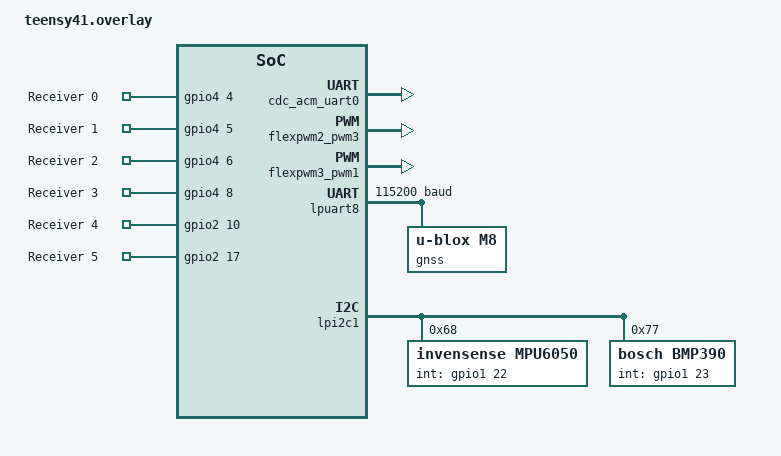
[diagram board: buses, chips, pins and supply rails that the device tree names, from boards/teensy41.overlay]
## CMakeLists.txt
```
# SPDX-License-Identifier: Apache-2.0

cmake_minimum_required(VERSION 3.20.0)

find_package(Zephyr REQUIRED HINTS $ENV{ZEPHYR_BASE})
project(RubbishBahFlighController)

include(${ZEPHYR_BASE}/samples/subsys/usb/common/common.cmake)

target_include_directories(app 
	PRIVATE 
		src
		ext/flysky_fs16x/src
		ext/ZephyrSDCard/src
		ext/ZephyrMPU6050/src
)

if(CONFIG_TEENSY41)
	target_sources(app 
		PRIVATE 
		ext/ZephyrMPU6050/src/console.cpp
	)
endif()

target_sources(app 
	PRIVATE 
		src/blinky.c
		ext/flysky_fs16x/src/flysky_fs16x.cpp
		ext/ZephyrMPU6050/src/mpu6050.cpp
    src/RBPID.cpp
		src/rbfc.cpp
		src/main.cpp
)
```

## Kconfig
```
# Copyright (c) 2023 Nordic Semiconductor ASA
# SPDX-License-Identifier: Apache-2.0

# Source common USB sample options used to initialize new experimental USB
# device stack. The scope of these options is limited to USB samples in project
# tree, you cannot use them in your own application.
#source "samples/subsys/usb/common/Kconfig.sample_usbd"

config TEENSY41
	bool "If you're using a Teensy 4.1"
	default n

config USING_ZEPHYR
	bool "If you're using Zephyr instead of Arduino"
	default n

source "Kconfig.zephyr"
```

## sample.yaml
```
sample:
  name: I2C custom target sample
tests:
  sample.drivers.i2c.custom_target:
    tags: i2c_target
    platform_allow:
      - lpcxpresso55s69/lpc55s69/cpu0
    harness: TBD
  sample.basic.servo_motor:
    tags:
      - drivers
      - pwm
    depends_on: pwm
    harness: motor
    filter: dt_compat_enabled("pwm-servo")
    integration_platforms:
      - bbc_microbit


    sample.drivers.adc.adc_dt:
    tags:
      - adc
    depends_on: adc
    platform_allow:
      - esp32_devkitc_wroom/esp32/procpu
      - esp32_devkitc_wrover/esp32/procpu
      - esp32s2_saola
      - esp32c3_devkitm
    integration_platforms:
      - nucleo_l073rz
      - nrf52840dk/nrf52840
    harness: console
    timeout: 10
    harness_config:
      type: multi_line
      regex:
        - "ADC reading\\[\\d+\\]:"
        - "- .+, channel \\d+: -?\\d+"
```

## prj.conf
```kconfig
CONFIG_ADC=y

CONFIG_USING_ZEPHYR=y

#CONFIG_ZTEST=y
#CONFIG_TEST_USERSPACE=y
CONFIG_CPP=y

CONFIG_TIMING_FUNCTIONS=y
CONFIG_CBPRINTF_FP_SUPPORT=y
#CONFIG_ASSERT=y
CONFIG_PWM=y
CONFIG_GPIO=y

CONFIG_I2C=y
CONFIG_I2C_TARGET=y
#CONFIG_NEWLIB_LIBC=y
CONFIG_SENSOR=y
CONFIG_BMP388=y

CONFIG_LOG=y
CONFIG_PRINTK=y
CONFIG_MAIN_STACK_SIZE=2048
```

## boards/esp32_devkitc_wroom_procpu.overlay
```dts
/ {
	aliases {
		led0 = &led0;
		receiver0 = &receiver0;
		receiver1 = &receiver1;
		receiver2 = &receiver2;
		receiver3 = &receiver3;
		receiver4 = &receiver4;
		receiver5 = &receiver5;
	};

  zephyr,user {
		io-channels = <&adc1 4>;
	};

  leds {
		compatible = "gpio-leds";
		led0: led_0 {
			gpios = <&gpio0 2 GPIO_ACTIVE_HIGH>;
			label = "LED 0";
		};
	};

	receiver {
		compatible = "gpio-keys";

		receiver0: receiver_0 {                 // roll
			gpios = <&gpio1 4 GPIO_ACTIVE_HIGH>;  // pin 36
      zephyr,code = <INPUT_KEY_0>;
			label = "Receiver 0";
		};

		receiver1: receiver_1 { // pitch
			gpios = <&gpio1 7 GPIO_ACTIVE_HIGH>;  // pin 39
      zephyr,code = <INPUT_KEY_1>;
			label = "Receiver 1";
		};

		receiver2: receiver_2 { // throttle
			gpios = <&gpio1 2  GPIO_ACTIVE_HIGH>; // pin 34
      zephyr,code = <INPUT_KEY_2>;
			label = "Receiver 2";
		};

		receiver3: receiver_3 { // pitch
			gpios = <&gpio1 3 GPIO_ACTIVE_HIGH>; // pin 35
      zephyr,code = <INPUT_KEY_3>;
			label = "Receiver 3";
		};

		receiver4: receiver_4 { //vra
			gpios = <&gpio1 0 GPIO_ACTIVE_HIGH>; // pin 32
      zephyr,code = <INPUT_KEY_4>;
			label = "Receiver 4";
		};

		receiver5: receiver_5 { //vrb
			gpios = <&gpio1 1 GPIO_ACTIVE_HIGH>; // pin 33
      zephyr,code = <INPUT_KEY_5>;
			label = "Receiver 5";
		};
	};

	servos {
		servo0: servo_0 {
			compatible = "pwm-servo";
			pwms = <&mcpwm0 0 PWM_MSEC(20) PWM_POLARITY_NORMAL>; 
			min-pulse = <PWM_USEC(1000)>;
			max-pulse = <PWM_USEC(2000)>;
		};
		servo1: servo_1 {
			compatible = "pwm-servo";
			pwms = <&mcpwm0 0 PWM_MSEC(20) PWM_POLARITY_NORMAL>; 
			min-pulse = <PWM_USEC(1000)>;
			max-pulse = <PWM_USEC(2000)>;
		};
		servo2: servo_2 {
			compatible = "pwm-servo";
			pwms = <&mcpwm0 0 PWM_MSEC(20) PWM_POLARITY_NORMAL>; 
			min-pulse = <PWM_USEC(1000)>;
			max-pulse = <PWM_USEC(2000)>;
		};
		servo3: servo_3 {
			compatible = "pwm-servo";
			pwms = <&mcpwm0 0 PWM_MSEC(20) PWM_POLARITY_NORMAL>; 
			min-pulse = <PWM_USEC(1000)>;
			max-pulse = <PWM_USEC(2000)>;
		};
	};
};

&adc1 {
	status = "okay";
	#address-cells = <1>;
	#size-cells = <0>;

	channel@4 {
		reg = <4>;
		zephyr,gain = "ADC_GAIN_1_4";
		zephyr,reference = "ADC_REF_INTERNAL";
		zephyr,acquisition-time = <ADC_ACQ_TIME_DEFAULT>;
		//zephyr,acquisition-time = <ADC_ACQ_TIME(ADC_ACQ_TIME_MICROSECONDS, 4000)>;
		zephyr,resolution = <12>;
	};
};

&pinctrl {
	mcpwm0_default: mcpwm0_default {
		group1 {
			pinmux = <MCPWM0_OUT0A_GPIO14>, // FR pin
							 <MCPWM0_OUT0A_GPIO27>, // BR pin
							 <MCPWM0_OUT0A_GPIO26>, // BL pin
							 <MCPWM0_OUT0A_GPIO25>; // FL pin
		};
	};
};

&mcpwm0 {
	pinctrl-0 = <&mcpwm0_default>;
	pinctrl-names = "default";
	prescale = <255>;
	prescale-timer0 = <103>;
	status = "okay";
};

&i2c0 {
	mpu6050@68 {
		compatible = "invensense,mpu6050";
		reg = <0x68>;
		status = "okay";
		int-gpios = <&gpio0 23 GPIO_ACTIVE_HIGH>;
	};

	bmp390@77 {
		compatible = "bosch,bmp390";
		reg = <0x77>;
		status = "okay";
		int-gpios = <&gpio0 19 GPIO_ACTIVE_HIGH>;
		odr = "200";
		osr-press = <1>;
		osr-temp = <1>;
		iir-filter = <3>;

		label = "BMP390";
	};
};
```

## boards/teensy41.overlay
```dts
/ {
	aliases {
		//led0 = &led0;
		receiver0 = &receiver0;
		receiver1 = &receiver1;
		receiver2 = &receiver2;
		receiver3 = &receiver3;
		receiver4 = &receiver4;
		receiver5 = &receiver5;
		gnss = &gnss;
	};

	chosen {
		zephyr,console = &cdc_acm_uart0;
	};

	receiver {
		compatible = "gpio-keys";
		
		receiver0: receiver_0 {
			gpios = <&gpio4 4 GPIO_ACTIVE_HIGH>; // pin 2
			label = "Receiver 0";
		};

		receiver1: receiver_1 {
			gpios = <&gpio4 5 GPIO_ACTIVE_HIGH>; // pin 3
			label = "Receiver 1";
		};

		receiver2: receiver_2 {
			gpios = <&gpio4 6 GPIO_ACTIVE_HIGH>; // pin 4
			label = "Receiver 2";
		};

		receiver3: receiver_3 {
			gpios = <&gpio4 8 GPIO_ACTIVE_HIGH>; // pin 5
			label = "Receiver 3";
		};

		receiver4: receiver_4 {
			gpios = <&gpio2 10 GPIO_ACTIVE_HIGH>; // pin 6
			label = "Receiver 4";
		};

		receiver5: receiver_5 {
			gpios = <&gpio2 17 GPIO_ACTIVE_HIGH>; // pin 7
			label = "Receiver 5";
		};
	};

	servos {
		servo0: servo_0 {
			compatible = "pwm-servo";
			pwms = <&flexpwm2_pwm3 0 PWM_MSEC(20) PWM_POLARITY_NORMAL>;
			min-pulse = <PWM_USEC(700)>;
			max-pulse = <PWM_USEC(9000)>;
		};

		servo1: servo_1 {
			compatible = "pwm-servo";
			pwms = <&flexpwm2_pwm3 1 PWM_MSEC(20) PWM_POLARITY_NORMAL>;
			min-pulse = <PWM_USEC(700)>;
			max-pulse = <PWM_USEC(9000)>;
		};

		servo2: servo_2 {
			compatible = "pwm-servo";
			pwms = <&flexpwm3_pwm1 1 PWM_MSEC(20) PWM_POLARITY_NORMAL>; 
			min-pulse = <PWM_USEC(700)>;
			max-pulse = <PWM_USEC(9000)>;
		};

		servo3: servo_3 {
			compatible = "pwm-servo";
			pwms = <&flexpwm3_pwm1 0 PWM_MSEC(20) PWM_POLARITY_NORMAL>;
			min-pulse = <PWM_USEC(700)>;
			max-pulse = <PWM_USEC(9000)>;
		};
	};
};

&zephyr_udc0 {
	cdc_acm_uart0: cdc_acm_uart0 {
		compatible = "zephyr,cdc-acm-uart";
	};
};

&pinctrl {
	pinmux_flexpwm3_ch1: pinmux_flexpwm3_ch1 {
		group0 {
			pinmux = <&iomuxc_gpio_emc_32_flexpwm3_pwmb1>, 
							 <&iomuxc_gpio_emc_31_flexpwm3_pwma1>;
			drive-strength = "r0-7";
			slew-rate = "fast";
			nxp,speed = "200-mhz";
		};
	};
	pinmux_flexpwm2_ch3: pinmux_flexpwm2_ch3 {
		group0 {
			pinmux = <&iomuxc_gpio_b1_02_flexpwm2_pwma3>,
							 <&iomuxc_gpio_b1_03_flexpwm2_pwmb3>;
			drive-strength = "r0-7";
			slew-rate = "fast";
			nxp,speed = "200-mhz";
		};
	};
};

&flexpwm2_pwm3 {
	status = "okay";
	pinctrl-0 = <&pinmux_flexpwm2_ch3>;
	pinctrl-names = "default";
	nxp,prescaler = <64>;
};

&flexpwm3_pwm1 {
	status = "okay";
	pinctrl-0 = <&pinmux_flexpwm3_ch1>;
	pinctrl-names = "default";
	nxp,prescaler = <64>;
};

&lpuart8 {
	status = "okay";
	current-speed = <115200>;

	gnss: u-blox,m8 {
		status = "okay";
		compatible = "u-blox,m8";
		uart-baudrate = <115200>;
	};
};

&lpi2c1 {
	status = "okay";
	mpu6050@68 {
		compatible = "invensense,mpu6050";
		reg = <0x68>;
		status = "okay";
		int-gpios = <&gpio1 22 GPIO_ACTIVE_HIGH>;
	};
	
	bmp390@77 {
		compatible = "bosch,bmp390";
		reg = <0x77>;
		status = "okay";
		int-gpios = <&gpio1 23 GPIO_ACTIVE_HIGH>;
		odr = "200";
		osr-press = <1>;
		osr-temp = <1>;
		iir-filter = <3>;

		label = "BMP390";
	};
};
```

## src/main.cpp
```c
/*
 *  It is not so very important for a person to learn facts. 
 *  For that he does not really need a college. He can learn 
 *  them from books. The value of an education ... is not the 
 *  learning of many facts, but the training of the mind to think 
 *  something that cannot be learned from textbooks.”
 *
 *                                -Einstein
 */

#include "blinky.h"
#include "rbfc.h"

#ifdef CONFIG_TEENSY41
#include "console.h"
#endif

int app_init(void)
{

#ifdef CONFIG_TEENSY41
	startConsole();
#endif

	startBlinkyThread();
	
	return 0;
}

int main(void)
{
	app_init();

	RbosDrone rbosDrone = RbosDrone();

//*
	while(1)
	{
		//printf(".");		
		k_msleep(1000);
	}
//*/

	return 0;
}
```

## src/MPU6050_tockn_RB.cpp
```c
#include "MPU6050_tockn_RB.h"
#include "Arduino.h"

MPU6050::MPU6050(TwoWire &w){
  wire = &w;
  accCoef = 0.02f;
  gyroCoef = 0.98f;
}

MPU6050::MPU6050(TwoWire &w, float aC, float gC){
  wire = &w;
  accCoef = aC;
  gyroCoef = gC;
}

void MPU6050::begin(){
  writeMPU6050(MPU6050_SMPLRT_DIV, 0x00);
  writeMPU6050(MPU6050_CONFIG, 0x00);
  writeMPU6050(MPU6050_GYRO_CONFIG, 0x08);
  writeMPU6050(MPU6050_ACCEL_CONFIG, 0x16);
  writeMPU6050(MPU6050_PWR_MGMT_1, 0x01);
  this->update();
  angleGyroX = 0;
  angleGyroY = 0;
  angleX = this->getAccAngleX();
  angleY = this->getAccAngleY();
  preInterval = millis();
}

void MPU6050::writeMPU6050(byte reg, byte data){
  wire->beginTransmission(MPU6050_ADDR);
  wire->write(reg);
  wire->write(data);
  wire->endTransmission();
}

byte MPU6050::readMPU6050(byte reg) {
  wire->beginTransmission(MPU6050_ADDR);
  wire->write(reg);
  wire->endTransmission(true);
  wire->requestFrom(MPU6050_ADDR, 1);
  byte data =  wire->read();
  return data;
}

void MPU6050::setGyroOffsets(float x, float y, float z){
  gyroXoffset = x;
  gyroYoffset = y;
  gyroZoffset = z;
}

void MPU6050::calcGyroOffsets(bool console, uint16_t delayBefore, uint16_t delayAfter){
	float x = 0, y = 0, z = 0;
	int16_t rx, ry, rz;

  delay(delayBefore);
    /*
	if(console){
    Serial.println();
    Serial.println("========================================");
    Serial.println("Calculating gyro offsets");
    Serial.print("DO NOT MOVE MPU6050");
  }
    */
  for(int i = 0; i < 3000; i++){
    if(console && i % 1000 == 0){
      /*
      Serial.print(".");
      */
    }
    wire->beginTransmission(MPU6050_ADDR);
    wire->write(0x43);
    wire->endTransmission(false);
    wire->requestFrom((int)MPU6050_ADDR, 6);

    rx = wire->read() << 8 | wire->read();
    ry = wire->read() << 8 | wire->read();
    rz = wire->read() << 8 | wire->read();

    x += ((float)rx) / 65.5;
    y += ((float)ry) / 65.5;
    z += ((float)rz) / 65.5;
  }
  gyroXoffset = x / 3000;
  gyroYoffset = y / 3000;
  gyroZoffset = z / 3000;

    /*
  if(console){
    Serial.println();
    Serial.println("Done!");
    Serial.print("X : ");Serial.println(gyroXoffset);
    Serial.print("Y : ");Serial.println(gyroYoffset);
    Serial.print("Z : ");Serial.println(gyroZoffset);
    Serial.println("Program will start after 3 seconds");
    Serial.print("========================================");
		delay(delayAfter);
	}
    */
}

void MPU6050::update(){
	wire->beginTransmission(MPU6050_ADDR);
	wire->write(0x3B);
	wire->endTransmission(false);
	wire->requestFrom((int)MPU6050_ADDR, 14);

  rawAccX = wire->read() << 8 | wire->read();
  rawAccY = wire->read() << 8 | wire->read();
  rawAccZ = wire->read() << 8 | wire->read();
  rawTemp = wire->read() << 8 | wire->read();
  rawGyroX = wire->read() << 8 | wire->read();
  rawGyroY = wire->read() << 8 | wire->read();
  rawGyroZ = wire->read() << 8 | wire->read();

  temp = (rawTemp + 12412.0) / 340.0;

  /*
  ///2g = 16384
  accX = ((float)rawAccX) / 16384.0;
  accY = ((float)rawAccY) / 16384.0;
  accZ = ((float)rawAccZ) / 16384.0;

  */
  ///8g = 4096
  accX = ((float)rawAccX) / 4096.0;
  accY = ((float)rawAccY) / 4096.0;
  accZ = ((float)rawAccZ) / 4096.0;

  angleAccX = atan2(accY, sqrt(accZ * accZ + accX * accX)) * 360 / 2.0 / PI;
  angleAccY = atan2(accX, sqrt(accZ * accZ + accY * accY)) * 360 / -2.0 / PI;

  gyroX = ((float)rawGyroX) / 65.5;
  gyroY = ((float)rawGyroY) / 65.5;
  gyroZ = ((float)rawGyroZ) / 65.5;

  gyroX -= gyroXoffset;
  gyroY -= gyroYoffset;
  gyroZ -= gyroZoffset;

  interval = (millis() - preInterval) * 0.001;

  angleGyroX += gyroX * interval;
  angleGyroY += gyroY * interval;
  angleGyroZ += gyroZ * interval;

  angleX = (gyroCoef * (angleX + gyroX * interval)) + (accCoef * angleAccX);
  angleY = (gyroCoef * (angleY + gyroY * interval)) + (accCoef * angleAccY);
  angleZ = angleGyroZ;

  preInterval = millis();

}
```

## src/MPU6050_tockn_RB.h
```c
#ifndef MPU6050_TOCKN_RB_H
#define MPU6050_TOCKN_RB_H

#include "Arduino.h"
#include "Wire.h"

#define MPU6050_ADDR         0x68
#define MPU6050_SMPLRT_DIV   0x19
#define MPU6050_CONFIG       0x1a
#define MPU6050_GYRO_CONFIG  0x1b
#define MPU6050_ACCEL_CONFIG 0x1c
#define MPU6050_WHO_AM_I     0x75
#define MPU6050_PWR_MGMT_1   0x6b
#define MPU6050_TEMP_H       0x41
#define MPU6050_TEMP_L       0x42

class MPU6050{
  public:

  MPU6050(TwoWire &w);
  MPU6050(TwoWire &w, float aC, float gC);

  void begin();

  void setGyroOffsets(float x, float y, float z);
  float getYawOffset(){ return gyroZoffset;}

  void writeMPU6050(byte reg, byte data);
  byte readMPU6050(byte reg);

  int16_t getRawAccX(){ return rawAccX; };
  int16_t getRawAccY(){ return rawAccY; };
  int16_t getRawAccZ(){ return rawAccZ; };

  int16_t getRawTemp(){ return rawTemp; };

  int16_t getRawGyroX(){ return rawGyroX; };
  int16_t getRawGyroY(){ return rawGyroY; };
  int16_t getRawGyroZ(){ return rawGyroZ; };

  float getTemp(){ return temp; };

  float getAccX(){ return accX; };
  float getAccY(){ return accY; };
  float getAccZ(){ return accZ; };

  float getGyroX(){ return gyroX; };
  float getGyroY(){ return gyroY; };
  float getGyroZ(){ return gyroZ; };

	void calcGyroOffsets(bool console = false, uint16_t delayBefore = 1000, uint16_t delayAfter = 3000);

  float getGyroXoffset(){ return gyroXoffset; };
  float getGyroYoffset(){ return gyroYoffset; };
  float getGyroZoffset(){ return gyroZoffset; };

  void update();

  float getAccAngleX(){ return angleAccX; };
  float getAccAngleY(){ return angleAccY; };

  float getGyroAngleX(){ return angleGyroX; };
  float getGyroAngleY(){ return angleGyroY; };
  float getGyroAngleZ(){ return angleGyroZ; };

  float getAngleX(){ return angleX; };
  float getAngleY(){ return angleY; };
  float getAngleZ(){ return angleZ; };

  private:

  TwoWire *wire;

  int16_t rawAccX, rawAccY, rawAccZ, rawTemp,
  rawGyroX, rawGyroY, rawGyroZ;

  float gyroXoffset, gyroYoffset, gyroZoffset;

  float temp, accX, accY, accZ, gyroX, gyroY, gyroZ;

  float angleGyroX, angleGyroY, angleGyroZ,
  angleAccX, angleAccY, angleAccZ;

  float angleX, angleY, angleZ;

  float interval;
  long preInterval;

  float accCoef, gyroCoef;
};

#endif
```

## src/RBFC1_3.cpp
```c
#include "RBPID.h"

///Data Objects
accel_t myAccel;
gyro_t myGyro;
PID_t myPID;
kalman_t myKalman;
voltMeter_t myMeter;

///MODE
byte motor_start = 0;

///IMU
MPU6050 mpu6050(Wire);
byte IMU_read = 0;

///Baro

///Input Variables
byte last_channel_1, last_channel_2, last_channel_3, last_channel_4;
unsigned long timer_1, timer_2, timer_3, timer_4, current_time;

///{0 = throttle, 1 = roll, 2 = pitch, 3 = yaw}
int receiver_input[4];
int corrected_input[4];

///Motor Timers & Motors
int ESCtimer[4];
Servo motorFR;
Servo motorBR;
Servo motorBL;
Servo motorFL;

///Main Loop Timers
unsigned long loop_timer, curr_time, prev_time, loop_start, loop_final;

///Function Prototypes
void setInput();
void IRAM_ATTR ISR_INPUT();

void setup()
{
  Serial.begin(1000000);
  while (!Serial) delay(10);
  Wire.begin();
  mpu6050.begin();

  ///Init IMU and Calibration
  mpu6050.calcGyroOffsets(true);
  myGyro.rateCalibration[0] -= mpu6050.getGyroYoffset();
  myGyro.rateCalibration[1] -= mpu6050.getGyroXoffset();
  myGyro.rateCalibration[2] -= mpu6050.getGyroZoffset();
  memset(myKalman.kalmanAngle, 0, 2);
  memset(myKalman.kalmanUncertaintyAngle, 4, 2);
  memset(myKalman.kalmanOutput, 0, 2);

  ///Init PID and Input
  setPID(myPID, 'S');
  setInput();

  ///Volt Meter
  pinMode(voltMeterPin, INPUT);

  ///Motor Pins and Servo Attach
  pinMode(motorFRPin, OUTPUT);
  pinMode(motorBRPin, OUTPUT);
  pinMode(motorBLPin, OUTPUT);
  pinMode(motorFLPin, OUTPUT);
  motorFR.attach(motorFRPin);
  motorBR.attach(motorBRPin);
  motorBL.attach(motorBLPin);
  motorFL.attach(motorFLPin);

  ///Make the beeping stop asap
  memset(receiver_input, 1000, 5);
  for (int i = 0; i < 4; ++i)
  {
    ESCtimer[i] = 1000;
  }
  loop_timer = 0;
}

void loop()
{
  prev_time = curr_time;
  curr_time = micros();
  
  ///Loop Start Operations
  if (loop_timer == 0)
  {
    loop_start = micros();

    ///Set motor pulse from last loop
    motorFR.writeMicroseconds(ESCtimer[0]);
    motorBR.writeMicroseconds(ESCtimer[1]);
    motorBL.writeMicroseconds(ESCtimer[2]);
    motorFL.writeMicroseconds(ESCtimer[3]);

    printReport(myMeter, myPID, myKalman, ESCtimer, myAccel, myGyro, corrected_input, loop_final);

    ///Capture IMU data and correct gyro
    getIMU(mpu6050, myGyro, myAccel);
    myGyro.rotationRate[0] -= myGyro.rateCalibration[0];
    myGyro.rotationRate[1] -= myGyro.rateCalibration[1];
    myGyro.rotationRate[2] -= myGyro.rateCalibration[2];

    ///Calculate XY Kalman Angles
    for (int i = 0; i < 2; ++i)
    {
      kalman_1d(myKalman, myKalman.kalmanAngle[i], myKalman.kalmanUncertaintyAngle[i], myGyro.rotationRate[i], myAccel.ang[i]);
      myKalman.kalmanAngle[i] = myKalman.kalmanOutput[0];
      myKalman.kalmanUncertaintyAngle[i] = myKalman.kalmanOutput[1];
    }
  }
  loop_timer += (curr_time - prev_time);

  ///Capture and Correct Receiver
  correctInput(receiver_input, corrected_input);

  ///PID angle setpoints
  myPID.desiredAngle[0] = corrected_input[1];
  myPID.desiredAngle[1] = corrected_input[2];
  myPID.desiredRate[2] = corrected_input[3];

  ///PID Calculations for next loop cycle
  calculate_pid(myPID, myKalman, myGyro, myAccel);

  ///Motor Start and Stop
  if (motor_start == 0 && receiver_input[0] < 1050 && 
      receiver_input[1] < 1050 && receiver_input[2] < 1050 && receiver_input[3] > 1950)
  {
    mpu6050.calcGyroOffsets(true);
    myGyro.rateCalibration[0] -= mpu6050.getGyroYoffset();
    myGyro.rateCalibration[1] -= mpu6050.getGyroXoffset();
    myGyro.rateCalibration[2] -= mpu6050.getGyroZoffset();

    motor_start = 1;
  }
  if (motor_start == 0 && receiver_input[0] < 1050 && 
      receiver_input[1] > 1950 && receiver_input[2] < 1050 && receiver_input[3] > 1950)
  {
    motor_start = 1;
  }
  if (motor_start == 1 && receiver_input[0] < 1050 && 
      receiver_input[1] > 1950 && receiver_input[2] < 1050 && receiver_input[3] < 1050)
  {
    motor_start = 0;
  }

  ///End of loop operations
  getVoltageCompensation(myMeter);

  ///Assume the motors are off
  ESCtimer[0] = 1000;
  ESCtimer[1] = 1000;
  ESCtimer[2] = 1000;
  ESCtimer[3] = 1000;

  ///In the event that the motors are on
  if (motor_start == 1)
  {
    if (receiver_input[0] < 1050)
    {
      receiver_input[0] = 1000;
      setPID(myPID, 'R');
    }
    else
    {
      if (receiver_input[0] > MAX_THROTTLE)
      {
        receiver_input[0] = MAX_THROTTLE;
      }

    /*(front-right - CCW)
      (back-right  - CW)
      (back-left   - CCW)
      (front-left  - CW)
      Motor blending equations   */
      ESCtimer[0] = receiver_input[0] + myPID.final[0] + myPID.final[1] - myPID.final[2];
      ESCtimer[1] = receiver_input[0] + myPID.final[0] - myPID.final[1] + myPID.final[2];
      ESCtimer[2] = receiver_input[0] - myPID.final[0] - myPID.final[1] - myPID.final[2];
      ESCtimer[3] = receiver_input[0] - myPID.final[0] + myPID.final[1] + myPID.final[2];

      ///Keep the motors spinning
      if (ESCtimer[0] < 1100){ESCtimer[0] = 1100;}
      if (ESCtimer[1] < 1100){ESCtimer[1] = 1100;}
      if (ESCtimer[2] < 1100){ESCtimer[2] = 1100;}
      if (ESCtimer[3] < 1100){ESCtimer[3] = 1100;}
      
      ///Limit output to 2000us
      if (ESCtimer[0] > 2000){ESCtimer[0] = 2000;}
      if (ESCtimer[1] > 2000){ESCtimer[1] = 2000;}
      if (ESCtimer[2] > 2000){ESCtimer[2] = 2000;}
      if (ESCtimer[3] > 2000){ESCtimer[3] = 2000;}
    }
  }
  
  ///wait for 4ms to start the next loop
  while((micros() - loop_start) < 4000);
  
  loop_final = micros() - loop_start;
  loop_timer = 0;
}

void setInput()
{
  pinMode(chan1Pin, INPUT);
  pinMode(chan2Pin, INPUT);
  pinMode(chan3Pin, INPUT);
  pinMode(chan4Pin, INPUT);
  attachInterrupt(chan1Pin, ISR_INPUT, CHANGE);
  attachInterrupt(chan2Pin, ISR_INPUT, CHANGE);
  attachInterrupt(chan3Pin, ISR_INPUT, CHANGE);
  attachInterrupt(chan4Pin, ISR_INPUT, CHANGE);
}

void IRAM_ATTR ISR_INPUT()
{
  current_time = micros();
  //Channel 1=========================================ROLL
  if(digitalRead(chan1Pin) == HIGH)
  {                                                                         
    if(last_channel_1 == 0)                                                 //Is input 8 high?
    {                                                                       //Input 8 changed from 0 to 1.
      last_channel_1 = 1;                                                   //Remember current input state.
      timer_1 = current_time;                                               //Set timer_1 to current_time.
    }
  }
  else if(last_channel_1 == 1)
  {                                                                         //Input 8 is not high and changed from 1 to 0.
    last_channel_1 = 0;                                                     //Remember current input state.
    receiver_input[1] = current_time - timer_1;                             //Channel 1 is current_time - timer_1.
  }
  //Channel 2=========================================PITCH
  if(digitalRead(chan2Pin) == HIGH)
  {                                                                         //Is input 9 high?
    if(last_channel_2 == 0)
    {                                                                       //Input 9 changed from 0 to 1.
      last_channel_2 = 1;                                                   //Remember current input state.
      timer_2 = current_time;                                               //Set timer_2 to current_time.
    }
  }
  else if(last_channel_2 == 1)
  {                                                                         //Input 9 is not high and changed from 1 to 0.
    last_channel_2 = 0;                                                     //Remember current input state.
    receiver_input[2] = current_time - timer_2;                             //Channel 2 is current_time - timer_2.
  }
  //Channel 3=========================================YAW
  if(digitalRead(chan3Pin) == HIGH)
  {                                                                         //Is input 10 high?
    if(last_channel_3 == 0)
    {                                                                       //Input 10 changed from 0 to 1.
      last_channel_3 = 1;                                                   //Remember current input state.
      timer_3 = current_time;                                               //Set timer_3 to current_time.
    }
  }
  else if(last_channel_3 == 1)
  {                                                                         //Input 10 is not high and changed from 1 to 0.
    last_channel_3 = 0;                                                     //Remember current input state.
    receiver_input[0] = current_time - timer_3;                             //Channel 3 is current_time - timer_3.

  }
  //Channel 4=========================================THROTTLE
  if(digitalRead(chan4Pin) == HIGH)
  {                                                                         //Is input 11 high?
    if(last_channel_4 == 0)
    {                                                                        //Input 11 changed from 0 to 1.
      last_channel_4 = 1;                                                   //Remember current input state.
      timer_4 = current_time;                                               //Set timer_4 to current_time.
    }
  }
  else if(last_channel_4 == 1)
  {                                                                         //Input 11 is not high and changed from 1 to 0.
    last_channel_4 = 0;                                                     //Remember current input state.
    receiver_input[3] = current_time - timer_4;                             //Channel 4 is current_time - timer_4.
  }
}
```

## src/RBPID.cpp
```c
#include "RBPID.h"
#include <math.h>
//#include "MPU6050_tockn_RB.h"

#if !defined CONFIG_USING_ZEPHYR
#include <Arduino.h>
#include <ESP32Servo.h>
#else
#include <ctype.h>
#endif

void getVoltageCompensation(voltMeter_t &meter)
{
  //meter.batteryVoltage = double(analogReadMilliVolts(voltMeterPin)) / 1000.0 * 11.0;
  //meter.analogIn = analogRead(voltMeterPin);
  //meter.TEMP = map(meter.analogIn, 0, 4095, 0, 8);
  //meter.TEMP = map(meter.analogIn, 0, 3300, 0, 8);
  //meter.batteryVoltage = meter.TEMP * 21.0 / 10;
}

void setPID(PID_t &pid, const char opt)
{
  switch(toupper(opt))
  {
    case 'R':
      for (int i = 0; i < 3; ++i)
      {
        pid.prevErrorRate[i] = 0;
        pid.prevITermRate[i] = 0;
      }
      for (int i = 0; i < 2; ++i)
      {
        pid.prevErrorAngle[i] = 0;
        pid.prevITermAngle[i] = 0;
      }
      break;
    case 'S':
      pid.PRateGain[0] = 1.80;
      pid.PRateGain[1] = pid.PRateGain[0];
      pid.PRateGain[2] = 1.80;

      pid.IRateGain[0] = 0.005;
      pid.IRateGain[1] = pid.IRateGain[0];
      pid.IRateGain[2] = 0.005;

      pid.DRateGain[0] = 0.008;
      pid.DRateGain[1] = pid.DRateGain[0];
      pid.DRateGain[2] = 0.008;

      pid.PAngleGain[0] = 3.0;
      pid.PAngleGain[1] = pid.PAngleGain[0];

      pid.IAngleGain[0] = 2.0;
      pid.IAngleGain[1] = pid.IAngleGain[0];

      pid.DAngleGain[0] = 0.0;
      pid.DAngleGain[1] = pid.DAngleGain[0];
      break;
    default:
      break;
  }
}

/*
void getIMU(MPU6050 mpu6050, gyro_t &gyro, accel_t &accel)
{
  mpu6050.update();
  gyro.rotationRate[0] = double(mpu6050.getGyroX());
  gyro.rotationRate[1] = double(mpu6050.getGyroY());
  gyro.rotationRate[2] = double(mpu6050.getGyroZ());

  accel.acc[0] = double(mpu6050.getAccX());
  accel.acc[1] = double(mpu6050.getAccY());
  accel.acc[2] = double(mpu6050.getAccZ());

  accel.ang[0] = double(mpu6050.getAccAngleX());
  accel.ang[1] = double(mpu6050.getAccAngleY());
}
//*/

/*
void kalman_nd(
    nkalman_t nkalman[], 
    double KalmanState, 
    double KalmanUncertainty, 
    double KalmanInput, 
    double KalmanMeasurement
  )
{
  double KalmanGain;

  uint16_t n = sizeof(kalman) / sizeof(kalman_t);
  
  for(int i = 0; i < n; ++i)
  {
    KalmanState = KalmanState + 0.004 * KalmanInput;
    KalmanUncertainty = KalmanUncertainty + 0.004 * 0.004 * 4 * 4;
    KalmanGain = KalmanUncertainty / (KalmanUncertainty + 3 * 3);
    KalmanState = KalmanState+KalmanGain * (KalmanMeasurement - KalmanState);
    KalmanUncertainty = (1 - KalmanGain) * KalmanUncertainty;
    nkalman[i].output = KalmanState; 
    nkalman[i + 1].output = KalmanUncertainty;
  }
}
//*/

//*
void kalman_1d(
    kalman_t &kalman, 
    double KalmanState, 
    double KalmanUncertainty, 
    double KalmanInput, 
    double KalmanMeasurement)
{
  double KalmanGain;
  KalmanState = KalmanState + 0.004 * KalmanInput;
  KalmanUncertainty = KalmanUncertainty + 0.004 * 0.004 * 4 * 4;
  KalmanGain = KalmanUncertainty / (KalmanUncertainty + 3 * 3);
  KalmanState = KalmanState+KalmanGain * (KalmanMeasurement - KalmanState);
  KalmanUncertainty = (1 - KalmanGain) * KalmanUncertainty;
  kalman.kalmanOutput[0] = KalmanState; 
  kalman.kalmanOutput[1] = KalmanUncertainty;
}
//*/

void calculate_pid(PID_t &myPID, kalman_t myKalman, gyro_t myGyro, accel_t myAccel)
{
  for (int i = 0; i < 2; ++i)
  {
    myPID.errorAngle[i] = myPID.desiredAngle[i] - myKalman.kalmanAngle[i];
    pid_equation(myPID, myPID.errorAngle[i], myPID.PAngleGain[i], myPID.IAngleGain[i], myPID.DAngleGain[i], myPID.prevErrorAngle[i], myPID.prevITermAngle[i]);
    myPID.desiredRate[i] = myPID.PIDReturn[0];
    myPID.prevErrorAngle[i] = myPID.PIDReturn[1];
    myPID.prevITermAngle[i] = myPID.PIDReturn[2];
  }

  for (int i = 0; i < 3; ++i)
  {
    myPID.errorRate[i] = myPID.desiredRate[i] - myGyro.rotationRate[i];
    pid_equation(myPID, myPID.errorRate[i], myPID.PRateGain[i], myPID.IRateGain[i], myPID.DRateGain[i], myPID.prevErrorRate[i], myPID.prevITermRate[i]);
    myPID.finalValue[i] = myPID.PIDReturn[0];
    myPID.prevErrorRate[i] = myPID.PIDReturn[1];
    myPID.prevITermRate[i] = myPID.PIDReturn[2];
  }
}

void pid_equation(PID_t &pid, double Error, double P , double I, double D, double PrevError, double PrevIterm)
{
  double Dterm, PIDOutput, Pterm, Iterm;
  Pterm = P * Error;
  Iterm = PrevIterm + I * (Error + PrevError) * 0.004 / 2;
  if (Iterm > MAX_PID)
  {
    Iterm = MAX_PID;
  }
  else if (Iterm < -MAX_PID)
  {
    Iterm = -MAX_PID;
  }
  Dterm = D * (Error - PrevError);// / 0.004;
  PIDOutput = Pterm + Iterm + Dterm;
  if (PIDOutput > MAX_PID)
  {
    PIDOutput = MAX_PID;
  }
  else if (PIDOutput < -MAX_PID)
  {
    PIDOutput = -MAX_PID;
  }
  pid.PIDReturn[0] = PIDOutput;
  pid.PIDReturn[1] = Error;
  pid.PIDReturn[2] = Iterm;
}

void correctInput(int receiver_input[], int corrected_input[])
{
  for (int i = 1; i <= 3; ++i)
  {
    if (receiver_input[i] > 1492 && receiver_input[i] < 1508)
    {
      corrected_input[i] = 0;
    }
    else
    {
      //corrected_input[i] = (0.15) * (receiver_input[i] - 1500);
      corrected_input[i] = (45 / 50.0) * (receiver_input[i] - 1500) / 10.0;
    }
    switch (i)
    {
      case 1:
      case 2:
      case 3:
        corrected_input[i] = -corrected_input[i];
        break;
      default:
        break;
    }
  }
}

void printReport(voltMeter_t meter, PID_t pid, kalman_t kalman, int ESCtimer[], accel_t accel, gyro_t gyro, int corrected_input[], int loopTime)
{
  /*
  Serial.printf("%0.2fl, %0.2fl, %0.2fl, ", gyro.rotationRate[0], gyro.rotationRate[1], gyro.rotationRate[2]);
  Serial.printf("%0.2f, %0.2f, %0.2f, ", pid.desiredRate[0], pid.desiredRate[1], pid.desiredRate[2]);
  Serial.printf("%0.2f, %0.2f, ", accel.ang[0], accel.ang[1]);
  Serial.printf("%0.2f, %0.2f, %0.2f, ", pid.final[0], pid.final[1], pid.final[2]);
  Serial.printf("%0.2f, %0.2f, ", kalman.kalmanAngle[0], kalman.kalmanAngle[1]);
  Serial.printf("%0.2f, %0.2f, %0.2f, ", pid.desiredAngle[0], pid.desiredAngle[1], pid.desiredRate[2]);
  Serial.printf("%d, %d, %d, %d, ", ESCtimer[0]
                                  , ESCtimer[1]
                                  , ESCtimer[2]
                                  , ESCtimer[3]);
  Serial.printf("%d\n", loopTime);
  */
  //Serial.printf("%0.2f, ", meter.batteryVoltage);
  //Serial.printf("\n");
}
```

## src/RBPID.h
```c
#ifndef _RB_PID_H_
#define _RB_PID_H_

#if !CONFIG_USING_ZEPHYR
#pragma once
#include <Arduino.h>
#include <ESP32Servo.h>
#include "MPU6050_tockn_RB.h"

#define chan1Pin 35///Roll
#define chan2Pin 34///Pitch
#define chan3Pin 39///Throttle
#define chan4Pin 36///Yaw
#define motorFRPin 14
#define motorBRPin 27
#define motorBLPin 26
#define motorFLPin 25
#define voltMeterPin 13
#endif

#include <math.h>

#define MAX_THROTTLE 1800
#define MAX_ESC_OUT 2000
#define MIN_ESC_OUT 1100
#define MAX_PID 200
#define MAX_YAW 200
#define MOTOR_OFF 1000

///Data Structs
struct accel_t
{
  double acc[3];
  double ang[2];
};

struct gyro_t
{
  double rotationRate[3];
  double rateCalibration[3];
};

//*
struct kalman_t
{
  double kalmanAngle[2];
  double kalmanUncertaintyAngle[2];
  double kalmanOutput[2];
};
//*/

/*
struct nkalman_t
{
  double input;
  double uncertainty;
  double output;
};
//*/

struct PID_t
{
  double PIDReturn[3];
  double finalValue[3];
  double desiredRate[3];
  double desiredAngle[3];
  double errorRate[3];
  double prevErrorRate[3];
  double prevITermRate[3];
  double PRateGain[3];
  double IRateGain[3];
  double DRateGain[3];
  double errorAngle[3];
  double prevErrorAngle[3];
  double prevITermAngle[3];
  double PAngleGain[3];
  double IAngleGain[3];
  double DAngleGain[3];
};

struct voltMeter_t
{
  //uint32_t analogIn;
  double batteryVoltage;
  int ESCcompensation;
  //int TEMP;
};

void getVoltageCompensation(voltMeter_t &meter);
void setPID(PID_t &pid, const char opt);
void calculate_pid(PID_t &myPID, kalman_t myKalman, gyro_t myGyro, accel_t myAccel);
void getIMU(gyro_t &gyro, accel_t &accel);
//void getIMU(MPU6050 IMU, gyro_t &gyro, accel_t &accel);
void kalman_1d(kalman_t &kalman, double KalmanState, double KalmanUncertainty, double KalmanInput, double KalmanMeasurement);
void pid_equation(PID_t &pid, double Error, double P , double I, double D, double PrevError, double PrevIterm);
void correctInput(int receiver_input[], int corrected_input[]);
void printReport(voltMeter_t meter, PID_t pid, kalman_t kalman, int ESCtimer[], accel_t accel, gyro_t gyro, int corrected_input[], int loopTime);

#endif
```

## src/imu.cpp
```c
#include "imu.h"

/*
 * Copyright (c) 2019 Nordic Semiconductor ASA
 *
 * SPDX-License-Identifier: Apache-2.0
 */

timing_t start_time;
timing_t end_time;
uint64_t total_cycles = 0;
uint64_t total_ns = 0;
uint64_t max_ns = 0;

K_MUTEX_DEFINE(max_ns_mutex);
K_MUTEX_DEFINE(imu_data_mutex);

sensor_value_t Imu::temperature;
sensor_value_t Imu::accel[3] = {0};
sensor_value_t Imu::gyro[3] = {0};

Imu::Imu() :
	mpu6050(DEVICE_DT_GET_ONE(invensense_mpu6050))
{
	startTriggeredImu();
}

Imu::~Imu()
{

}

int Imu::getImuData(
				sensor_value_t *ptemperature, sensor_value_t *paccel, sensor_value_t *pgyro, int size) {
	
	__ASSERT(size==SENSOR_ARRAY_SIZE, "Invalid size, got %d\n", size);

	k_mutex_lock(&imu_data_mutex, K_FOREVER);
	memcpy(ptemperature, &temperature, sizeof(sensor_value_t));	
	memcpy(paccel, accel, size * sizeof(sensor_value_t));	
	memcpy(pgyro, gyro, size * sizeof(sensor_value_t));	
	k_mutex_unlock(&imu_data_mutex);
	
	return 0;
}

int printCycleTime(void) {
/*
	//k_mutex_lock(&max_ns_mutex, K_FOREVER);
	//uint64_t temp_start_time = start_time;
	//uint64_t temp_end_time = end_time;
	//k_mutex_unlock(&max_ns_mutex);

	//total_cycles = timing_cycles_get(&temp_start_time, &temp_end_time);	
	total_ns = timing_cycles_to_ns(total_cycles);
	if(total_ns > max_ns) {
		max_ns = total_ns;
	}

//*/
	printf("%llu", total_ns);
	return 0;
}

int Imu::printImuData(void) {
//*
	printf("\n[%s]:\n"
				 "  temp %g Cel\n"
				 "  accel %f %f %f m/s/s\n"
				 "  gyro  %f %f %f rad/s\n",
				 now_str(),
				 sensor_value_to_double(&temperature),
				 sensor_value_to_double(&accel[0]),
				 sensor_value_to_double(&accel[1]),
				 sensor_value_to_double(&accel[2]),
				 sensor_value_to_double(&gyro[0]),
				 sensor_value_to_double(&gyro[1]),
				 sensor_value_to_double(&gyro[2]));
//*/

	return 0;
}

int Imu::printImuData(
				sensor_value_t *ptemperature, sensor_value_t *paccel, sensor_value_t *pgyro, int size) {
	__ASSERT(size==SENSOR_ARRAY_SIZE, "Invalid size, got %d\n", size);
//*
	printf("\n[%s]:\n"
				 "  temp %g Cel\n"
				 "  accel %f %f %f m/s/s\n"
				 "  gyro  %f %f %f rad/s\n",
				 now_str(),
				 sensor_value_to_double(ptemperature),
				 sensor_value_to_double(&paccel[0]),
				 sensor_value_to_double(&paccel[1]),
				 sensor_value_to_double(&paccel[2]),
				 sensor_value_to_double(&pgyro[0]),
				 sensor_value_to_double(&pgyro[1]),
				 sensor_value_to_double(&pgyro[2]));
//*/

	return 0;
}

int Imu::process_mpu6050(const struct device *dev) {
	
	int rc = sensor_sample_fetch(dev);

	if (rc == 0) {
		rc = sensor_channel_get(dev, SENSOR_CHAN_ACCEL_XYZ, accel);
	}
	if (rc == 0) {
		rc = sensor_channel_get(dev, SENSOR_CHAN_GYRO_XYZ, gyro);
	}
	if (rc == 0) {
		rc = sensor_channel_get(dev, SENSOR_CHAN_DIE_TEMP, &temperature);
	} 

	return rc;
}

static struct sensor_trigger trigger;

void Imu::handle_mpu6050_drdy(const struct device *dev, const struct sensor_trigger *trig) {
	int rc = process_mpu6050(dev);
//*
	if (rc != 0) {
		printf("(%d)",rc);
		//printf("failure detected: %d\n", rc);
		//(void)sensor_trigger_set(dev, trig, NULL);
		//(void)sensor_trigger_set(dev, trig, handle_mpu6050_drdy);
	} //else {
		//printf(".");
	//}
//*/
}

int Imu::startTriggeredImu(void) {

	while (!device_is_ready(mpu6050)) 
	{
		printf("Device %s is not ready\n", mpu6050->name);
		k_msleep(1000);
	}

	trigger = (struct sensor_trigger) {
		.type = SENSOR_TRIG_DATA_READY,
		.chan = SENSOR_CHAN_ALL,
	};

	if (sensor_trigger_set(mpu6050, &trigger, handle_mpu6050_drdy) < 0) {
		printf("Cannot configure trigger\n");
		return 0;
	}

	printk("Configured for triggered sampling.\n");

	// triggered runs with its own thread after exit 
	return 0;
}

const char *Imu::now_str(void) {
	static char buf[16]; /* ...HH:MM:SS.MMM */
	uint32_t now = k_uptime_get_32();
	unsigned int ms = now % MSEC_PER_SEC;
	unsigned int s;
	unsigned int min;
	unsigned int h;

	now /= MSEC_PER_SEC;
	s = now % 60U;
	now /= 60U;
	min = now % 60U;
	now /= 60U;
	h = now;

	snprintf(buf, sizeof(buf), "%u:%02u:%02u.%03u",
		 h, min, s, ms);
	return buf;
}

/*
	//	timing_init();
 // timing_start();

	end_time = timing_counter_get();
	total_cycles = timing_cycles_get(&start_time, &end_time);	
	total_ns = timing_cycles_to_ns(total_cycles);
	if(total_ns > max_ns) {
		k_mutex_lock(&max_ns_mutex, K_FOREVER);
		max_ns = total_ns;
		k_mutex_unlock(&max_ns_mutex);
	}
	start_time = end_time;
//*/
```

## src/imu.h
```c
#ifndef _IMU_H_
#define _IMU_H_

#include <zephyr/kernel.h>
#include <zephyr/device.h>
#include <zephyr/drivers/sensor.h>
#include <stdio.h>
#include <zephyr/timing/timing.h>

#define SENSOR_ARRAY_SIZE 3

typedef struct sensor_value sensor_value_t;

class Imu
{
	public:
		Imu();
		~Imu();

		const char *now_str(void);
		int printCycleTime(void);
		int printImuData(sensor_value_t  *, sensor_value_t *, sensor_value_t *, int);
		int printImuData(void);
		int getImuData(sensor_value_t  *, sensor_value_t *, sensor_value_t *, int);
		//int getTemperature(struct sensor_value &);

	private:
		static sensor_value_t temperature;
		static sensor_value_t accel[SENSOR_ARRAY_SIZE];
		static sensor_value_t gyro[SENSOR_ARRAY_SIZE];

		const struct device *const mpu6050;

		int startTriggeredImu(void);
		static void handle_mpu6050_drdy(const struct device *, const struct sensor_trigger *);
		static int process_mpu6050(const struct device *);
};

#endif
```

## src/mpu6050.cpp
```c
#include "mpu6050.h"

MPU6050::MPU6050() :
	mpu6050(DEVICE_DT_GET_ONE(invensense_mpu6050)),
	rawTemp(0),
	rawAccX(0), rawAccY(0), rawAccZ(0),
	rawGyroX(0), rawGyroY(0), rawGyroZ(0),
	gyroXoffset(0), gyroYoffset(0), gyroZoffset(0),
	temp(0), 
	accX(0), accY(0), accZ(0), 
	gyroX(0), gyroY(0), gyroZ(0),
	angleGyroX(0), angleGyroY(0), angleGyroZ(0),
	angleAccX(0), angleAccY(0), angleAccZ(0),
	angleX(0), angleY(0), angleZ(0),
	interval(1), // TODO: figure out what this is supposed to be
	preInterval(0),
	accCoef(0.02f), gyroCoef(0.98f)
{
	//startTriggeredImu();
}

MPU6050::MPU6050(double aC, double gC) :
	mpu6050(DEVICE_DT_GET_ONE(invensense_mpu6050))
{
  accCoef = aC;
  gyroCoef = gC;
	//startTriggeredImu();
}

K_MUTEX_DEFINE(imu_data_mutex);

sensor_value_t MPU6050::temperature;
sensor_value_t MPU6050::accel[3] = {0};
sensor_value_t MPU6050::gyro[3] = {0};

int MPU6050::getImuData(
		sensor_value_t *ptemperature, sensor_value_t *paccel, sensor_value_t *pgyro, int size)
{
	
	__ASSERT(size==SENSOR_ARRAY_SIZE, "Invalid size, got %d\n", size);

	k_mutex_lock(&imu_data_mutex, K_FOREVER);
	memcpy(ptemperature, &temperature, sizeof(sensor_value_t));	
	memcpy(paccel, accel, size * sizeof(sensor_value_t));	
	memcpy(pgyro, gyro, size * sizeof(sensor_value_t));	
	k_mutex_unlock(&imu_data_mutex);
	
	return 0;
}

int MPU6050::printImuData(void) {
//*
	printf(
		"\n[%s]:\n"
		"  temp %g Cel\n"
		"  accel %f %f %f m/s/s\n"
		"  gyro  %f %f %f rad/s\n",
		now_str(),
		sensor_value_to_double(&temperature),
		sensor_value_to_double(&accel[0]),
		sensor_value_to_double(&accel[1]),
		sensor_value_to_double(&accel[2]),
		sensor_value_to_double(&gyro[0]),
		sensor_value_to_double(&gyro[1]),
		sensor_value_to_double(&gyro[2])
	);
//*/

	return 0;
}

int MPU6050::printImuData(
		sensor_value_t *ptemperature, sensor_value_t *paccel, sensor_value_t *pgyro, int size) 
{
	__ASSERT(size==SENSOR_ARRAY_SIZE, "Invalid size, got %d\n", size);
//*
	printf("\n[%s]:\n"
				 "  temp %g Cel\n"
				 "  accel %f %f %f m/s/s\n"
				 "  gyro  %f %f %f rad/s\n",
				 now_str(),
				 sensor_value_to_double(ptemperature),
				 sensor_value_to_double(&paccel[0]),
				 sensor_value_to_double(&paccel[1]),
				 sensor_value_to_double(&paccel[2]),
				 sensor_value_to_double(&pgyro[0]),
				 sensor_value_to_double(&pgyro[1]),
				 sensor_value_to_double(&pgyro[2]));
//*/

	return 0;
}

int MPU6050::process_mpu6050(const struct device *dev)
{
	
	int rc = sensor_sample_fetch(dev);

	if (rc == 0) 
	{
		rc = sensor_channel_get(dev, SENSOR_CHAN_ACCEL_XYZ, accel);
	}
	if (rc == 0) 
	{
		rc = sensor_channel_get(dev, SENSOR_CHAN_GYRO_XYZ, gyro);
	}
	if (rc == 0) 
	{
		rc = sensor_channel_get(dev, SENSOR_CHAN_DIE_TEMP, &temperature);
	} 

	return rc;
}

static struct sensor_trigger trigger;

void MPU6050::handle_mpu6050_drdy(const struct device *dev, const struct sensor_trigger *trig)
{
	int rc = process_mpu6050(dev);
	
	if (rc != 0) 
	{
		//printf("\n(%d)\n",rc);
		//printf("failure detected: %d\n", rc);
		//(void)sensor_trigger_set(dev, trig, NULL);
		//(void)sensor_trigger_set(dev, trig, handle_mpu6050_drdy);
	} 
}

int MPU6050::startTriggeredImu(void)
{
	while (!device_is_ready(mpu6050)) 
	{
		printf("Device %s is not ready\n", mpu6050->name);
		k_msleep(1000);
	}

	trigger = (struct sensor_trigger)
	{
		.type = SENSOR_TRIG_DATA_READY,
		.chan = SENSOR_CHAN_ALL,
	};

	int ret = 0;
	ret = sensor_trigger_set(mpu6050, &trigger, handle_mpu6050_drdy);
	__ASSERT(ret >= 0, "ERROR %d:Cannot configure trigger!", ret);

	printk("Configured for triggered sampling.\n");

	// triggered runs with its own thread after exit 
	return 0;
}

const char *MPU6050::now_str(void) 
{
	static char buf[16]; /* ...HH:MM:SS.MMM */
	uint32_t now = k_uptime_get_32();
	unsigned int ms = now % MSEC_PER_SEC;
	unsigned int s;
	unsigned int min;
	unsigned int h;

	now /= MSEC_PER_SEC;
	s = now % 60U;
	now /= 60U;
	min = now % 60U;
	now /= 60U;
	h = now;

	snprintf(buf, sizeof(buf), "%u:%02u:%02u.%03u",
		 h, min, s, ms);
	return buf;
}

void MPU6050::begin()
{
  this->update();
  angleGyroX = 0;
  angleGyroY = 0;
  angleX = this->getAccAngleX();
  angleY = this->getAccAngleY();
//  preInterval = millis();
}

void MPU6050::setGyroOffsets(double x, double y, double z)
{
  gyroXoffset = x;
  gyroYoffset = y;
  gyroZoffset = z;
}

void MPU6050::calcGyroOffsets(bool console, uint16_t delayBefore, uint16_t delayAfter)
{
	double x = 0; 
	double y = 0; 
	double z = 0;

  for(int i = 0; i < 3000; i++){
	 	x += gyroX / 65.5;
    y += gyroY / 65.5;
    z += gyroZ / 65.5;
  }
  gyroXoffset = x / 3000;
  gyroYoffset = y / 3000;
  gyroZoffset = z / 3000;
//*/
}

void MPU6050::captureRaw(raw_imu_data_t *data)
{
	k_mutex_lock(&imu_data_mutex, K_FOREVER);
	memcpy(&data->temperature, &temperature, sizeof(sensor_value_t));	
	memcpy(&data->accel, accel, SENSOR_ARRAY_SIZE * sizeof(sensor_value_t));	
	memcpy(&data->gyro, gyro, SENSOR_ARRAY_SIZE * sizeof(sensor_value_t));	
	k_mutex_unlock(&imu_data_mutex);
}

void MPU6050::conditionRaw(raw_imu_data_t *raw_imu_data)
{
  temp = sensor_value_to_double(&raw_imu_data->temperature);
  //temp = (sensor_value_to_double(&raw_temperature) + 12412.0) / 340.0;
  //temp = (rawTemp + 12412.0) / 340.0;

  ///2g = 16384
	//printf("(%0.5f, %0.5f, %0.5f)\n", accX, accY, accZ);
  
	accX = sensor_value_to_double(&raw_imu_data->accel[0]) / 16384.0;
  accY = sensor_value_to_double(&raw_imu_data->accel[1]) / 16384.0;
  accZ = sensor_value_to_double(&raw_imu_data->accel[2]) / 16384.0;

	//printf(" [%0.5f, %0.5f, %0.5f] ", accX, accY, accZ);
  
	///8g = 4096
  //accX = sensor_value_to_double(&raw_accel[0]) / 4096.0;
  //accY = sensor_value_to_double(&raw_accel[1]) / 4096.0;
  //accZ = sensor_value_to_double(&raw_accel[2]) / 4096.0;

  angleAccX = atan2(accY, sqrt(accZ * accZ + accX * accX)) * 360 / 2.0 / PI;
  angleAccY = atan2(accX, sqrt(accZ * accZ + accY * accY)) * 360 / -2.0 / PI;
  
	gyroX = sensor_value_to_double(&raw_imu_data->gyro[0]) / 65.5;
  gyroY = sensor_value_to_double(&raw_imu_data->gyro[1]) / 65.5;
  gyroZ = sensor_value_to_double(&raw_imu_data->gyro[2]) / 65.5;
	
  gyroX -= gyroXoffset;
  gyroY -= gyroYoffset;
  gyroZ -= gyroZoffset;
	
	//printf(" [%0.5f, %0.5f, %0.5f] ", gyroX, gyroY, gyroZ);

  angleGyroX += gyroX * interval;
  angleGyroY += gyroY * interval;
  angleGyroZ += gyroZ * interval;

	//printf(" [%0.5f, %0.5f, %0.5f] ", angleGyroX, angleGyroY, angleGyroZ);
  
	angleX = (gyroCoef * (angleX + gyroX * interval)) + (accCoef * angleAccX);
  angleY = (gyroCoef * (angleY + gyroY * interval)) + (accCoef * angleAccY);
  angleZ = angleGyroZ;

}

//*
void MPU6050::update()
{
	raw_imu_data_t imu_data = {0};
	captureRaw(&imu_data);
	conditionRaw(&imu_data);
}
//*/
/*
void MPU6050::update()
{
	static sensor_value_t raw_temperature;
	static sensor_value_t raw_accel[SENSOR_ARRAY_SIZE];
	static sensor_value_t raw_gyro[SENSOR_ARRAY_SIZE];
	
	//printf("------------------------------------------\n");
	getImuData(&raw_temperature, raw_accel, raw_gyro, SENSOR_ARRAY_SIZE);
	//printImuData(&raw_temperature, raw_accel, raw_gyro, SENSOR_ARRAY_SIZE);

  temp = sensor_value_to_double(&raw_temperature);
  //temp = (sensor_value_to_double(&raw_temperature) + 12412.0) / 340.0;
  //temp = (rawTemp + 12412.0) / 340.0;

  ///2g = 16384
	//printf("(%0.5f, %0.5f, %0.5f)\n", accX, accY, accZ);
  
	accX = sensor_value_to_double(&raw_accel[0]) / 16384.0;
  accY = sensor_value_to_double(&raw_accel[1]) / 16384.0;
  accZ = sensor_value_to_double(&raw_accel[2]) / 16384.0;

	//printf(" [%0.5f, %0.5f, %0.5f] ", accX, accY, accZ);
  
	///8g = 4096
  //accX = sensor_value_to_double(&raw_accel[0]) / 4096.0;
  //accY = sensor_value_to_double(&raw_accel[1]) / 4096.0;
  //accZ = sensor_value_to_double(&raw_accel[2]) / 4096.0;

  angleAccX = atan2(accY, sqrt(accZ * accZ + accX * accX)) * 360 / 2.0 / PI;
  angleAccY = atan2(accX, sqrt(accZ * accZ + accY * accY)) * 360 / -2.0 / PI;
  
	gyroX = sensor_value_to_double(&raw_gyro[0]) / 65.5;
  gyroY = sensor_value_to_double(&raw_gyro[1]) / 65.5;
  gyroZ = sensor_value_to_double(&raw_gyro[2]) / 65.5;
	
  gyroX -= gyroXoffset;
  gyroY -= gyroYoffset;
  gyroZ -= gyroZoffset;
	
	//printf(" [%0.5f, %0.5f, %0.5f] ", gyroX, gyroY, gyroZ);

  angleGyroX += gyroX * interval;
  angleGyroY += gyroY * interval;
  angleGyroZ += gyroZ * interval;

	//printf(" [%0.5f, %0.5f, %0.5f] ", angleGyroX, angleGyroY, angleGyroZ);
  
	angleX = (gyroCoef * (angleX + gyroX * interval)) + (accCoef * angleAccX);
  angleY = (gyroCoef * (angleY + gyroY * interval)) + (accCoef * angleAccY);
  angleZ = angleGyroZ;
}
//*/

void MPU6050::printConditionedImuData(void)
{
	//printf(" (%+5.7f) (%+5.7f, %+5.7f, %+5.7f) (%+5.7f, %+5.7f, %+5.7f)", 
	printf(" (%.2f) (%+.7f, %+.7f, %+.7f) (%+.7f, %+.7f, %+.7f)", 
			temp, accX, accY, accZ, angleX, angleY, angleZ);
	//printf("(%0.5f) (%0.5f, %0.5f, %0.5f) (%0.5f, %0.5f, %0.5f)\n", 
	//temp, accX, accY, accZ, gyroX, gyroY, gyroZ);
}                              
                               
```

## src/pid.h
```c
#ifndef _RB_PID_H_
#define _RB_PID_H_

#pragma once
//#include <ESP32Servo.h>
#include "mpu6050.h"
#include <math.h>

#define chan1Pin 35///Roll
#define chan2Pin 34///Pitch
#define chan3Pin 39///Throttle
#define chan4Pin 36///Yaw
#define motorFRPin 14
#define motorBRPin 27
#define motorBLPin 26
#define motorFLPin 25

#define MAX_ROLL 45
#define MAX_YAW 45

///Data Structs
struct accel_t
{
  double vector;
  double acc_roll;
  double acc_pitch;
};

struct gyro_t
{
  double roll;
  double pitch;
  double yaw;
  double currNose;
  double refNose;
  double currGyro[4];
  double prevGyro[4];
};

struct PID_t
{
  double setpoint[4];
  double max[4];
  double out[4];
  double pOut[4];
  double iOut[4];
  double dOut[4];
  double pGain[4];
  double iGain[4];
  double dGain[4];
  double pError[4];
  double iError[4];
  double dError[4];
  double pMem[4];
  double iMem[4];
  double dMem[4];
  double pid_error_temp;
};

void initPID(PID_t pid);
void calculate_pid(PID_t pid, double gyro_input[4], gyro_t gyro, int corrected_input[5]);
void correctInput(int receiver_input[5], int corrected_input[5]);
void printReport(PID_t pid_calc, int ESCtimer[], gyro_t gyro, int corrected_input[]);

#endif
```
